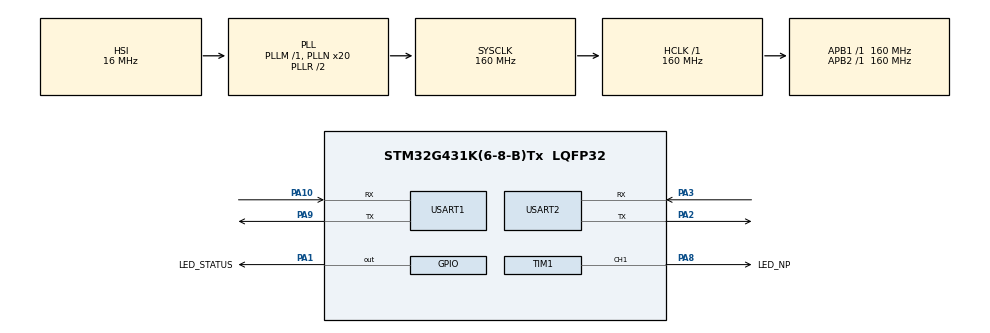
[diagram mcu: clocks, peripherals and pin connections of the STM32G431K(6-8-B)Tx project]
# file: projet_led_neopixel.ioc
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Dma.DMA_GENERATOR0.0.Direction=DMA_PERIPH_TO_MEMORY
Dma.DMA_GENERATOR0.0.EventEnable=DISABLE
Dma.DMA_GENERATOR0.0.Instance=DMA1_Channel1
Dma.DMA_GENERATOR0.0.MemDataAlignment=DMA_MDATAALIGN_BYTE
Dma.DMA_GENERATOR0.0.MemInc=DMA_MINC_ENABLE
Dma.DMA_GENERATOR0.0.Mode=DMA_NORMAL
Dma.DMA_GENERATOR0.0.PeriphDataAlignment=DMA_PDATAALIGN_BYTE
Dma.DMA_GENERATOR0.0.PeriphInc=DMA_PINC_DISABLE
Dma.DMA_GENERATOR0.0.Polarity=HAL_DMAMUX_REQ_GEN_RISING
Dma.DMA_GENERATOR0.0.Priority=DMA_PRIORITY_LOW
Dma.DMA_GENERATOR0.0.RequestNumber=1
Dma.DMA_GENERATOR0.0.SignalID=NONE
Dma.DMA_GENERATOR0.0.SyncEnable=DISABLE
Dma.DMA_GENERATOR0.0.SyncPolarity=HAL_DMAMUX_SYNC_NO_EVENT
Dma.DMA_GENERATOR0.0.SyncRequestNumber=1
Dma.DMA_GENERATOR0.0.SyncSignalID=NONE
Dma.Request0=DMA_GENERATOR0
Dma.Request1=TIM1_CH1
Dma.TIM1_CH1.1.Direction=DMA_PERIPH_TO_MEMORY
Dma.TIM1_CH1.1.EventEnable=DISABLE
Dma.TIM1_CH1.1.Instance=DMA1_Channel2
Dma.TIM1_CH1.1.MemDataAlignment=DMA_MDATAALIGN_HALFWORD
Dma.TIM1_CH1.1.MemInc=DMA_MINC_ENABLE
Dma.TIM1_CH1.1.Mode=DMA_NORMAL
Dma.TIM1_CH1.1.PeriphDataAlignment=DMA_PDATAALIGN_HALFWORD
Dma.TIM1_CH1.1.PeriphInc=DMA_PINC_DISABLE
Dma.TIM1_CH1.1.Polarity=HAL_DMAMUX_REQ_GEN_RISING
Dma.TIM1_CH1.1.Priority=DMA_PRIORITY_LOW
Dma.TIM1_CH1.1.RequestNumber=1
Dma.TIM1_CH1.1.SignalID=NONE
Dma.TIM1_CH1.1.SyncEnable=DISABLE
Dma.TIM1_CH1.1.SyncPolarity=HAL_DMAMUX_SYNC_NO_EVENT
Dma.TIM1_CH1.1.SyncRequestNumber=1
Dma.TIM1_CH1.1.SyncSignalID=NONE
Mcu.Family=STM32G4
Mcu.Name=STM32G431K(6-8-B)Tx
Mcu.Package=LQFP32
NVIC.DMA1_Channel2_IRQn=true\:0\:0\:false\:false\:true\:false\:true\:true
NVIC.PriorityGroup=NVIC_PRIORITYGROUP_4
PA1.GPIO_Label=LED_STATUS
PA1.Signal=GPIO_Output
PA10.Mode=Asynchronous
PA10.Signal=USART1_RX
PA13.Mode=Serial_Wire
PA13.Signal=SYS_JTMS-SWDIO
PA14.Mode=Serial_Wire
PA14.Signal=SYS_JTCK-SWCLK
PA2.Mode=Asynchronous
PA2.Signal=USART2_TX
PA3.Mode=Asynchronous
PA3.Signal=USART2_RX
PA8.GPIO_Label=LED_NP
PA8.Signal=S_TIM1_CH1
PA9.Mode=Asynchronous
PA9.Signal=USART1_TX
ProjectManager.HeapSize=0x200
ProjectManager.StackSize=0x400
ProjectManager.TargetToolchain=STM32CubeIDE
RCC.ADC12Freq_Value=160000000
RCC.AHBFreq_Value=160000000
RCC.APB1Freq_Value=160000000
RCC.APB1TimFreq_Value=160000000
RCC.APB2Freq_Value=160000000
RCC.APB2TimFreq_Value=160000000
RCC.CortexFreq_Value=160000000
RCC.EXTERNAL_CLOCK_VALUE=12288000
RCC.HCLKFreq_Value=160000000
RCC.HSE_VALUE=8000000
RCC.HSI48_VALUE=48000000
RCC.HSI_VALUE=16000000
RCC.LSE_VALUE=32768
RCC.PLLN=20
RCC.SYSCLKFreq_VALUE=160000000
RCC.SYSCLKSource=RCC_SYSCLKSOURCE_PLLCLK
RCC.USBFreq_Value=160000000
RCC.VCOOutputFreq_Value=320000000
SH.S_TIM1_CH1.0=TIM1_CH1,PWM Generation1 CH1
TIM1.AutoReloadPreload=TIM_AUTORELOAD_PRELOAD_ENABLE
TIM1.Channel-PWM\ Generation1\ CH1=TIM_CHANNEL_1
TIM1.PeriodNoDither=200-1
TIM1.PulseNoDither_1=0
TIM1.TIM_MasterOutputTrigger=TIM_TRGO_UPDATE
USART1.VirtualMode-Asynchronous=VM_ASYNC
USART2.VirtualMode-Asynchronous=VM_ASYNC
VP_SYS_VS_DBSignals.Mode=DisableDeadBatterySignals
VP_TIM1_VS_ClockSourceINT.Mode=Internal
board=custom

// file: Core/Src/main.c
/* USER CODE BEGIN Header */
/**
 ******************************************************************************
 * @file           : main.c
 * @brief          : Main program body
 ******************************************************************************
 * @attention
 *
 * Copyright (c) 2025 STMicroelectronics.
 * All rights reserved.
 *
 * This software is licensed under terms that can be found in the LICENSE file
 * in the root directory of this software component.
 * If no LICENSE file comes with this software, it is provided AS-IS.
 *
 ******************************************************************************
 */
/* USER CODE END Header */
#include "main.h"
#include "dma.h"
#include "tim.h"
#include "usart.h"
#include "gpio.h"

/* USER CODE BEGIN Includes */
#include "utils.h"
#include <stdio.h>
#include "main.h"
#include "ws2812.h"

/* USER CODE END Includes */

void SystemClock_Config(void);

/* USER CODE BEGIN 0 */
int __io_putchar(int chr)
{
	HAL_UART_Transmit(&huart1, (uint8_t*)&chr, 1, HAL_MAX_DELAY);
	return chr;
}
/* USER CODE END 0 */

int main(void)
{

  /* USER CODE BEGIN 1 */
	HAL_Init();
	SystemClock_Config();

	//	__HAL_RCC_GPIOA_CLK_ENABLE();
	//	GPIO_InitTypeDef GPIO_InitStruct = {0};
	//	GPIO_InitStruct.Pin = GPIO_PIN_8;
	//	GPIO_InitStruct.Mode = GPIO_MODE_OUTPUT_PP;
	//	GPIO_InitStruct.Speed = GPIO_SPEED_FREQ_HIGH;
	//	HAL_GPIO_Init(GPIOA, &GPIO_InitStruct);

  /* USER CODE END 1 */

  /* MCU Configuration--------------------------------------------------------*/

  /* Reset of all peripherals, Initializes the Flash interface and the Systick. */
  HAL_Init();

  /* Configure the system clock */
  SystemClock_Config();

  /* Initialize all configured peripherals */
  MX_GPIO_Init();
  MX_DMA_Init();
  MX_TIM1_Init();
  MX_USART1_UART_Init();
  MX_USART2_UART_Init();
  /* USER CODE BEGIN 2 */
	printf("\r\n===== VESTE LED =====\r\n");

//	while(1)
//	{
//	//	WS2812_SendColor(0,0,0);
//	    WS2812_SendColorArray(colors, sizeof(colors));
//
//	}

  /* USER CODE END 2 */

  /* Infinite loop */
  /* USER CODE BEGIN WHILE */

	//  PWM_Start(); // Démarre le signal PWM une seule fois
	//  PWM_SetDutyCycle();

	while (1)
	{

		uint8_t colors[LED_COUNT * 3] = {
		    255, 0, 0,  // red
		    0, 255, 0,  // green
		    0, 0, 255,  // blue
		    255, 255, 0, // yellow
		    255, 0, 255, // magenta
		    0, 255, 255, // cyan
		    128, 128, 128, // white-ish
		    0, 0, 0      // off
		};

//		uint8_t colors[24] = {
//				255, 0, 0,  // LED 1 red
//				0, 255, 0,  // LED 2 green
//				0, 0, 255,  // LED 3 blue
//				255, 255, 0, // LED 4 yellow
//				255, 0, 255, // LED 5 magenta
//				0, 255, 255, // LED 6 cyan
//				128, 128, 128, // LED 7 white-ish
//				0, 0, 0      // LED 8 off

		WS2812_SendColorArray(colors, sizeof(colors));
		HAL_Delay(500);
	}

	//	  for (uint16_t duty = 0; duty <= 65535; duty += 1000) {
	//	       PWM_SetDutyCycle(duty);
	//	       HAL_Delay(10); // petite pause pour voir la variation
	//	     }
	//
	//	     for (uint16_t duty = 65535; duty >= 1000; duty -= 1000) {
	//	       PWM_SetDutyCycle(duty);
	//	       HAL_Delay(10);
	//	     }
    /* USER CODE END WHILE */

}

void SystemClock_Config(void)
{
  RCC_OscInitTypeDef RCC_OscInitStruct = {0};
  RCC_ClkInitTypeDef RCC_ClkInitStruct = {0};

  /** Configure the main internal regulator output voltage
  */
  HAL_PWREx_ControlVoltageScaling(PWR_REGULATOR_VOLTAGE_SCALE1_BOOST);

  /** Initializes the RCC Oscillators according to the specified parameters
  * in the RCC_OscInitTypeDef structure.
  */
  RCC_OscInitStruct.OscillatorType = RCC_OSCILLATORTYPE_HSI;
  RCC_OscInitStruct.HSIState = RCC_HSI_ON;
  RCC_OscInitStruct.HSICalibrationValue = RCC_HSICALIBRATION_DEFAULT;
  RCC_OscInitStruct.PLL.PLLState = RCC_PLL_ON;
  RCC_OscInitStruct.PLL.PLLSource = RCC_PLLSOURCE_HSI;
  RCC_OscInitStruct.PLL.PLLM = RCC_PLLM_DIV1;
  RCC_OscInitStruct.PLL.PLLN = 20;
  RCC_OscInitStruct.PLL.PLLP = RCC_PLLP_DIV2;
  RCC_OscInitStruct.PLL.PLLQ = RCC_PLLQ_DIV2;
  RCC_OscInitStruct.PLL.PLLR = RCC_PLLR_DIV2;
  if (HAL_RCC_OscConfig(&RCC_OscInitStruct) != HAL_OK)
  {
    Error_Handler();
  }

  /** Initializes the CPU, AHB and APB buses clocks
  */
  RCC_ClkInitStruct.ClockType = RCC_CLOCKTYPE_HCLK|RCC_CLOCKTYPE_SYSCLK
                              |RCC_CLOCKTYPE_PCLK1|RCC_CLOCKTYPE_PCLK2;
  RCC_ClkInitStruct.SYSCLKSource = RCC_SYSCLKSOURCE_PLLCLK;
  RCC_ClkInitStruct.AHBCLKDivider = RCC_SYSCLK_DIV1;
  RCC_ClkInitStruct.APB1CLKDivider = RCC_HCLK_DIV1;
  RCC_ClkInitStruct.APB2CLKDivider = RCC_HCLK_DIV1;

  if (HAL_RCC_ClockConfig(&RCC_ClkInitStruct, FLASH_LATENCY_4) != HAL_OK)
  {
    Error_Handler();
  }
}

void Error_Handler(void)
{
	__disable_irq();
	while (1)
	{
	}
}
